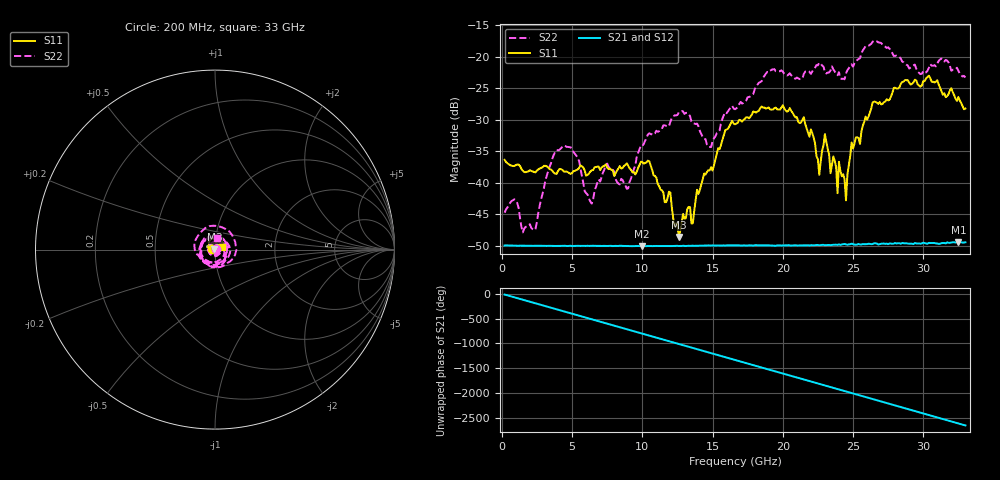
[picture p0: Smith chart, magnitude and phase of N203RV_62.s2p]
# GHZ S RI R 50
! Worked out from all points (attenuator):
!   329 points, 200 MHz to 33 GHz, reference 50 ohm
!   highest |S21| = -49.43 dB at 32.5 GHz (marker M1); lowest = -50.1 dB at 10 GHz (marker M2)
!   lowest |S11| = -48.6 dB at 12.6 GHz (marker M3), VSWR 1.01, Z = 49.7 + j0.167 ohm
!   |S11| at or under -10 dB: start of sweep to end of sweep
!   |S22| runs from -47.9 to -17.4 dB; largest |S21 - S12| = 7.2e-05
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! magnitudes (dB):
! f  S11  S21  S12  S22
! 200 MHz  -36.4  -50.0  -50.0  -44.8
! 2.4 GHz  -38.4  -50.0  -50.0  -47.3
! 4.4 GHz  -38.2  -50.0  -50.0  -34.1
! 5.7 GHz  -37.4  -50.0  -50.0  -38.9
! 6.4 GHz  -38.0  -50.0  -50.0  -43.3
! 7.5 GHz  -37.6  -50.1  -50.1  -37.0
! 9 GHz  -37.3  -50.1  -50.0  -40.9
! 10 GHz  -36.7  -50.1  -50.1  -34.2
! 11.2 GHz  -40.6  -50.1  -50.0  -31.8
! 12 GHz  -41.6  -50.1  -50.1  -30.3
! 12.6 GHz  -48.6  -50.1  -50.0  -28.8
! 14.9 GHz  -37.5  -50.0  -49.9  -34.4
! 16.6 GHz  -30.7  -49.9  -49.9  -28.3
! 20 GHz  -27.7  -50.0  -49.9  -22.3
! 22.1 GHz  -32.1  -49.9  -49.9  -22.3
! 22.6 GHz  -38.8  -49.9  -49.9  -21.0
! 23 GHz  -32.3  -49.9  -49.9  -22.4
! 24.5 GHz  -42.8  -49.8  -49.8  -22.6
! 24.9 GHz  -33.6  -49.7  -49.7  -21.2
! 27.6 GHz  -26.8  -49.6  -49.7  -18.7
! 32.5 GHz  -26.4  -49.4  -49.5  -22.2
! 33 GHz  -28.2  -49.5  -49.5  -23.3
